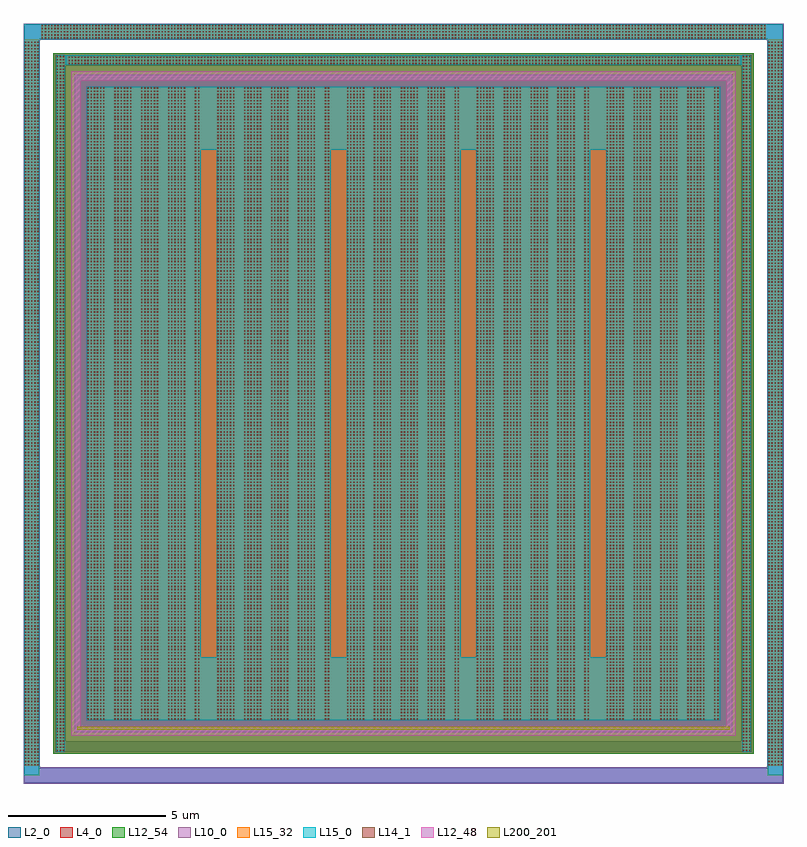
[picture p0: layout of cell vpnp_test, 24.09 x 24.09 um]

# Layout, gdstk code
import gdstk
lib = gdstk.Library(unit=1e-6, precision=1e-09)
def R(c, l, rs):  # rectangles x0, y0, x1, y1
    for r in rs: c.add(gdstk.rectangle(r[:2], r[2:], *l))
def A(c, l, x, y, w, h, nx, ny, dx, dy):  # array of equal rectangles
    R(c, l, [(x+i*dx, y+j*dy, x+i*dx+w, y+j*dy+h) for i in range(nx) for j in range(ny)])
L2_0 = (2, 0)
L4_0 = (4, 0)
L10_0 = (10, 0)
L12_48 = (12, 48)
L12_54 = (12, 54)
L14_1 = (14, 1)
L15_0 = (15, 0)
L15_32 = (15, 32)
L200_201 = (200, 201)

vpnp_test = lib.new_cell('vpnp_test')
R(vpnp_test, L2_0, [(-18.529,-10.559,5.523,-10.079), (-18.529,-10.079,-18.049,13.013), (5.043,-10.079,5.523,13.013), (-17.549,-9.579,4.543,-9.239), (-17.549,-9.239,-17.209,12.173), (4.203,-9.239,4.543,12.173), (-16.853,-8.883,3.847,11.817), (-17.549,12.173,4.543,12.513), (-18.529,13.013,5.523,13.493)])
R(vpnp_test, L4_0, [(-17.605,-9.635,4.599,12.569)])
R(vpnp_test, L10_0, [(-18.55,-10.58,5.544,-10.058), (-18.55,-10.058,-18.028,12.992), (5.022,-10.058,5.544,12.992), (-16.923,-8.953,3.917,11.887), (-18.55,12.992,5.544,13.514)])
R(vpnp_test, L12_48, [(-17.034,-9.064,4.028,-8.758), (-17.034,-8.758,-16.728,11.692), (3.722,-8.758,4.028,11.692), (-17.034,11.692,4.028,11.998)])
R(vpnp_test, L12_54, [(-17.605,-9.635,4.599,12.569)])
A(vpnp_test, L14_1, -18.509, -10.003, 0.04, 0.04, 5, 230, 0.1, 0.1)
A(vpnp_test, L14_1, 5.063, -10.003, 0.04, 0.04, 5, 230, 0.1, 0.1)
A(vpnp_test, L14_1, -17.499, -9.553, 0.04, 0.04, 3, 221, 0.1, 0.1)
A(vpnp_test, L14_1, 4.253, -9.553, 0.04, 0.04, 3, 221, 0.1, 0.1)
A(vpnp_test, L14_1, -16.523, -8.553, 0.04, 0.04, 6, 201, 0.1, 0.1)
A(vpnp_test, L14_1, -15.671, -8.553, 0.04, 0.04, 6, 201, 0.1, 0.1)
A(vpnp_test, L14_1, -14.819, -8.553, 0.04, 0.04, 6, 201, 0.1, 0.1)
A(vpnp_test, L14_1, -13.967, -8.553, 0.04, 0.04, 6, 201, 0.1, 0.1)
A(vpnp_test, L14_1, -13.115, -8.553, 0.04, 0.04, 1, 201, 0, 0.1)
A(vpnp_test, L14_1, -13.015, -8.553, 0.04, 0.04, 1, 201, 0, 0.1)
A(vpnp_test, L14_1, -12.407, -8.553, 0.04, 0.04, 6, 201, 0.1, 0.1)
A(vpnp_test, L14_1, -11.555, -8.553, 0.04, 0.04, 6, 201, 0.1, 0.1)
A(vpnp_test, L14_1, -10.703, -8.553, 0.04, 0.04, 6, 201, 0.1, 0.1)
A(vpnp_test, L14_1, -9.851, -8.553, 0.04, 0.04, 6, 201, 0.1, 0.1)
A(vpnp_test, L14_1, -8.999, -8.553, 0.04, 0.04, 1, 201, 0, 0.1)
A(vpnp_test, L14_1, -8.899, -8.553, 0.04, 0.04, 1, 201, 0, 0.1)
A(vpnp_test, L14_1, -8.292, -8.553, 0.04, 0.04, 6, 201, 0.1, 0.1)
A(vpnp_test, L14_1, -7.44, -8.553, 0.04, 0.04, 6, 201, 0.1, 0.1)
A(vpnp_test, L14_1, -6.588, -8.553, 0.04, 0.04, 6, 201, 0.1, 0.1)
A(vpnp_test, L14_1, -5.736, -8.553, 0.04, 0.04, 6, 201, 0.1, 0.1)
A(vpnp_test, L14_1, -4.884, -8.553, 0.04, 0.04, 1, 201, 0, 0.1)
A(vpnp_test, L14_1, -4.784, -8.553, 0.04, 0.04, 1, 201, 0, 0.1)
A(vpnp_test, L14_1, -4.177, -8.553, 0.04, 0.04, 6, 201, 0.1, 0.1)
A(vpnp_test, L14_1, -3.325, -8.553, 0.04, 0.04, 6, 201, 0.1, 0.1)
A(vpnp_test, L14_1, -2.473, -8.553, 0.04, 0.04, 6, 201, 0.1, 0.1)
A(vpnp_test, L14_1, -1.621, -8.553, 0.04, 0.04, 6, 201, 0.1, 0.1)
A(vpnp_test, L14_1, -0.769, -8.553, 0.04, 0.04, 1, 201, 0, 0.1)
A(vpnp_test, L14_1, -0.669, -8.553, 0.04, 0.04, 1, 201, 0, 0.1)
A(vpnp_test, L14_1, -0.062, -8.553, 0.04, 0.04, 6, 201, 0.1, 0.1)
A(vpnp_test, L14_1, 0.79, -8.553, 0.04, 0.04, 6, 201, 0.1, 0.1)
A(vpnp_test, L14_1, 1.642, -8.553, 0.04, 0.04, 6, 201, 0.1, 0.1)
A(vpnp_test, L14_1, 2.494, -8.553, 0.04, 0.04, 6, 201, 0.1, 0.1)
A(vpnp_test, L14_1, 3.346, -8.553, 0.04, 0.04, 1, 201, 0, 0.1)
A(vpnp_test, L14_1, 3.446, -8.553, 0.04, 0.04, 1, 201, 0, 0.1)
A(vpnp_test, L14_1, -17.123, 12.223, 0.04, 0.04, 213, 3, 0.1, 0.1)
A(vpnp_test, L14_1, -17.973, 13.033, 0.04, 0.04, 230, 5, 0.1, 0.1)
A(vpnp_test, L15_0, -12.425, -6.571, 3.615, 16.076, 4, 1, 4.115, 0)
R(vpnp_test, L15_0, [(-18.527,-10.319,-18.051,13.491), (5.045,-10.319,5.521,13.491), (-17.517,-9.571,-17.241,12.505), (4.235,-9.571,4.511,12.505), (-16.541,-8.571,3.535,-6.571), (-16.541,-6.571,-12.926,9.505), (-16.541,9.505,3.535,11.505), (-17.241,12.205,4.235,12.505), (-18.051,13.015,5.045,13.491)])
R(vpnp_test, L15_32, [(-18.527,-10.021,-18.051,13.015), (5.045,-10.021,5.521,13.015), (-17.517,-9.571,-17.241,12.505), (4.235,-9.571,4.511,12.505), (-16.541,-8.571,3.535,11.505), (-17.141,12.205,4.135,12.481), (-17.991,13.015,4.985,13.491)])
R(vpnp_test, L200_201, [(-16.853,-8.883,3.847,-8.783)])

lib.write_gds('vpnp_test.gds')
